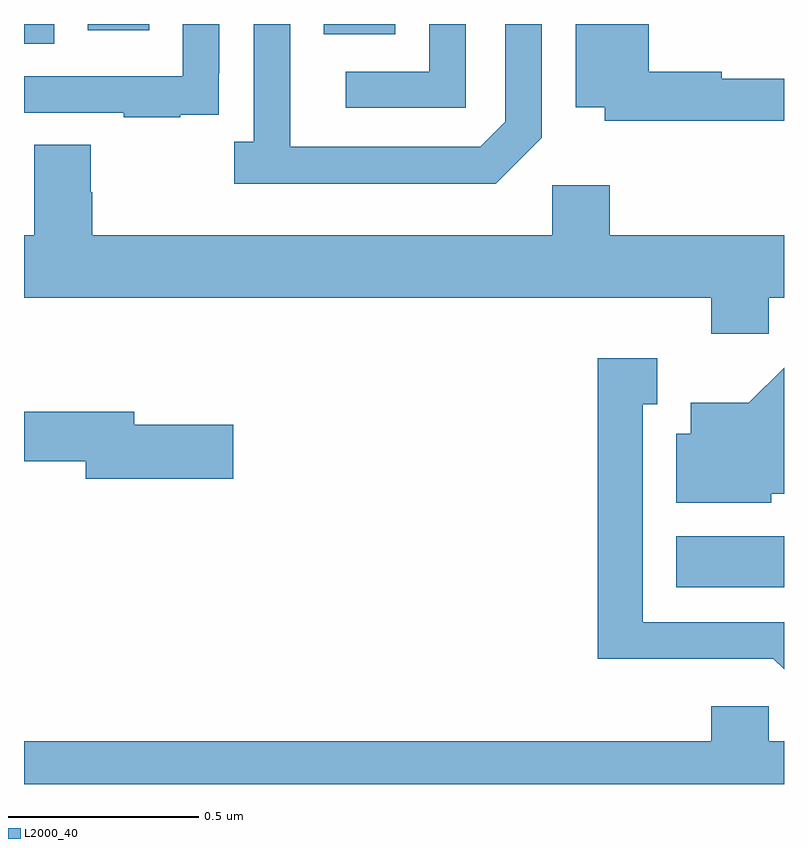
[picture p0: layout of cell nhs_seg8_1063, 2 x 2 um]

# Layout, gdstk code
import gdstk
lib = gdstk.Library(unit=1e-6, precision=1e-09)
def R(c, l, rs):  # rectangles x0, y0, x1, y1
    for r in rs: c.add(gdstk.rectangle(r[:2], r[2:], *l))
def P(c, l, *ps):  # polygons
    for p in ps: c.add(gdstk.Polygon(p, *l))
L2000_40 = (2000, 40)

nhs_seg8_1063 = lib.new_cell('nhs_seg8_1063')
R(nhs_seg8_1063, L2000_40, [(126.716,1102.418,127,1102.552), (125,1103.848,125.08,1103.9), (125.789,1103.873,125.977,1103.9), (125.168,1103.883,125.329,1103.9)])
P(nhs_seg8_1063, L2000_40, [(127,1103.756),(126.836,1103.756),(126.836,1103.774),(126.644,1103.774),(126.644,1103.9),(126.452,1103.9),(126.452,1103.681),(126.528,1103.681),(126.528,1103.646),(127,1103.646)],
  [(126.363,1103.601),(126.363,1103.9),(126.267,1103.9),(126.267,1103.643),(126.201,1103.577),(125.701,1103.577),(125.701,1103.777),(125.7,1103.777),(125.7,1103.9),(125.604,1103.9),(125.604,1103.59),(125.553,1103.59),(125.553,1103.48),(126.242,1103.48)],
  [(126.162,1103.9),(126.066,1103.9),(126.066,1103.775),(125.847,1103.775),(125.847,1103.679),(126.162,1103.679)],
  [(125.411,1103.661),(125.513,1103.661),(125.513,1103.77),(125.514,1103.77),(125.514,1103.9),(125.418,1103.9),(125.418,1103.763),(125,1103.763),(125,1103.667),(125.263,1103.667),(125.263,1103.655),(125.411,1103.655)],
  [(126.96,1103.18),(127,1103.18),(127,1103.344),(126.542,1103.344),(126.542,1103.476),(126.39,1103.476),(126.39,1103.344),(125.18,1103.344),(125.18,1103.457),(125.175,1103.457),(125.175,1103.582),(125.027,1103.582),(125.027,1103.344),(125,1103.344),(125,1103.18),(126.809,1103.18),(126.809,1103.085),(126.96,1103.085)],
  [(127,1102.326),(126.628,1102.326),(126.628,1102.899),(126.667,1102.899),(126.667,1103.02),(126.51,1103.02),(126.51,1102.229),(126.75,1102.229),(126.75,1102.23),(126.972,1102.23),(127,1102.202)],
  [(126.966,1102.664),(127,1102.664),(127,1102.995),(126.907,1102.903),(126.755,1102.903),(126.755,1102.822),(126.716,1102.822),(126.716,1102.64),(126.966,1102.64)],
  [(125.551,1102.845),(125.29,1102.845),(125.29,1102.879),(125,1102.879),(125,1102.75),(125.162,1102.75),(125.162,1102.703),(125.551,1102.703)],
  [(127,1102.012),(126.96,1102.012),(126.96,1102.105),(126.809,1102.105),(126.809,1102.012),(125,1102.012),(125,1101.9),(127,1101.9)])

lib.write_gds('nhs_seg8_1063.gds')
